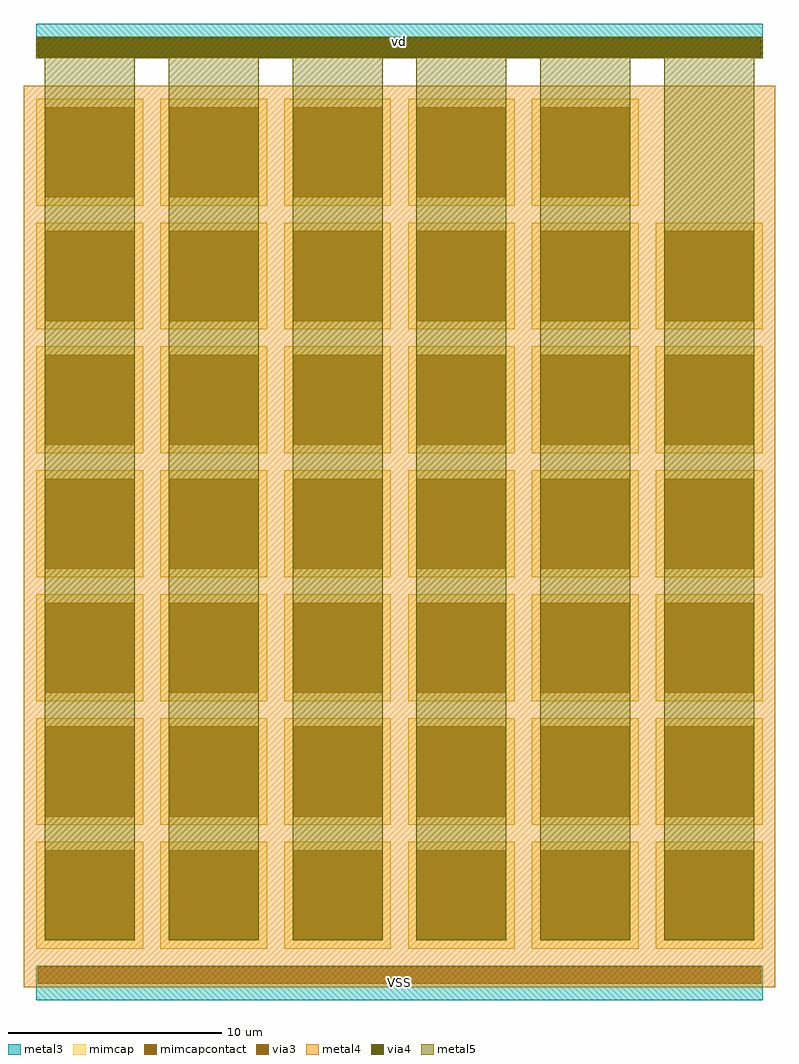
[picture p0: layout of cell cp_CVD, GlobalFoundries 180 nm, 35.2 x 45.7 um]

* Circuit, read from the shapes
.subckt cp_CVD vd VSS
XC1 vd VSS cap_mim_2f0fF c_width=5u c_length=5u m=41
.ends

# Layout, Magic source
magic
tech gf180mcuD
magscale 1 10
<< metal3 >>
rect 0 -340 6800 -160
rect 0 8340 6800 8540
rect 0 8340 6800 8660
rect 0 8340 6800 8660
rect 0 -480 6800 -160
rect 0 -480 6800 -160
<< metal4 >>
rect -120 -360 6920 8080
rect 0 -340 6800 -160
rect 0 8340 6800 8540
rect 0 8340 6800 8540
<< mimcap >>
rect 0 0 1000 1000
rect 1160 0 2160 1000
rect 2320 0 3320 1000
rect 3480 0 4480 1000
rect 4640 0 5640 1000
rect 5800 0 6800 1000
rect 0 1160 1000 2160
rect 1160 1160 2160 2160
rect 2320 1160 3320 2160
rect 3480 1160 4480 2160
rect 4640 1160 5640 2160
rect 5800 1160 6800 2160
rect 0 2320 1000 3320
rect 1160 2320 2160 3320
rect 2320 2320 3320 3320
rect 3480 2320 4480 3320
rect 4640 2320 5640 3320
rect 5800 2320 6800 3320
rect 0 3480 1000 4480
rect 1160 3480 2160 4480
rect 2320 3480 3320 4480
rect 3480 3480 4480 4480
rect 4640 3480 5640 4480
rect 5800 3480 6800 4480
rect 0 4640 1000 5640
rect 1160 4640 2160 5640
rect 2320 4640 3320 5640
rect 3480 4640 4480 5640
rect 4640 4640 5640 5640
rect 5800 4640 6800 5640
rect 0 5800 1000 6800
rect 1160 5800 2160 6800
rect 2320 5800 3320 6800
rect 3480 5800 4480 6800
rect 4640 5800 5640 6800
rect 5800 5800 6800 6800
rect 0 6960 1000 7960
rect 1160 6960 2160 7960
rect 2320 6960 3320 7960
rect 3480 6960 4480 7960
rect 4640 6960 5640 7960
<< metal5 >>
rect 78 78 922 8440
rect 1238 78 2082 8440
rect 2398 78 3242 8440
rect 3558 78 4402 8440
rect 4718 78 5562 8440
rect 5878 78 6722 8440
rect 0 8340 6800 8540
rect 0 8340 6800 8540
<< via3 >>
rect 10 -330 6790 -170
rect 10 8350 6790 8530
<< via4 >>
rect 10 8350 6790 8530
<< mimcapcontact >>
rect 78 78 922 922
rect 1238 78 2082 922
rect 2398 78 3242 922
rect 3558 78 4402 922
rect 4718 78 5562 922
rect 5878 78 6722 922
rect 78 1238 922 2082
rect 1238 1238 2082 2082
rect 2398 1238 3242 2082
rect 3558 1238 4402 2082
rect 4718 1238 5562 2082
rect 5878 1238 6722 2082
rect 78 2398 922 3242
rect 1238 2398 2082 3242
rect 2398 2398 3242 3242
rect 3558 2398 4402 3242
rect 4718 2398 5562 3242
rect 5878 2398 6722 3242
rect 78 3558 922 4402
rect 1238 3558 2082 4402
rect 2398 3558 3242 4402
rect 3558 3558 4402 4402
rect 4718 3558 5562 4402
rect 5878 3558 6722 4402
rect 78 4718 922 5562
rect 1238 4718 2082 5562
rect 2398 4718 3242 5562
rect 3558 4718 4402 5562
rect 4718 4718 5562 5562
rect 5878 4718 6722 5562
rect 78 5878 922 6722
rect 1238 5878 2082 6722
rect 2398 5878 3242 6722
rect 3558 5878 4402 6722
rect 4718 5878 5562 6722
rect 5878 5878 6722 6722
rect 78 7038 922 7882
rect 1238 7038 2082 7882
rect 2398 7038 3242 7882
rect 3558 7038 4402 7882
rect 4718 7038 5562 7882
<< labels >>
flabel metal3 s 0 8340 6800 8660 0 FreeSans 80 0 0 0 vd
port 1 nsew signal bidirectional
flabel metal3 s 0 -480 6800 -160 0 FreeSans 80 0 0 0 VSS
port 2 nsew signal bidirectional
<< end >>
